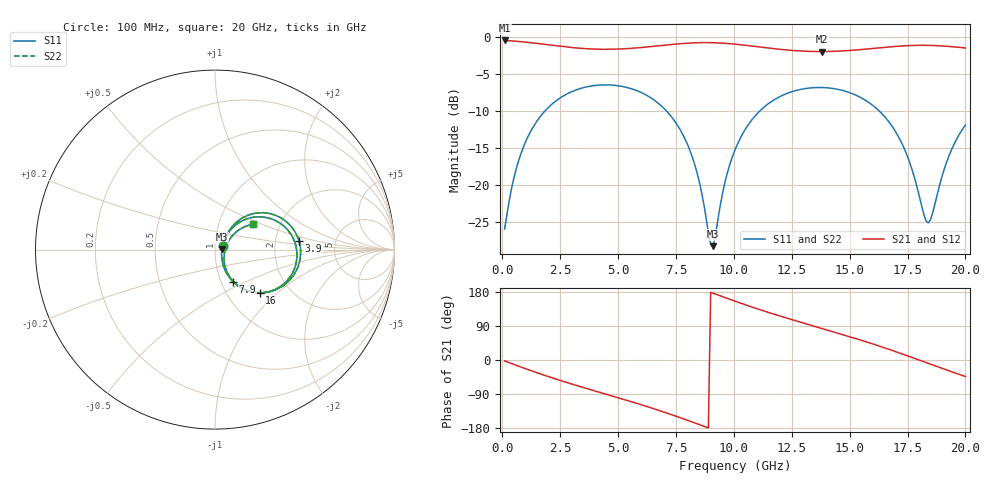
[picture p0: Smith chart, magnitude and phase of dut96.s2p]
! Touchstone file exported from HFSS 2026.1.0
!  File:  C:/ffzhzh/LocalFiles/Ansys_Project_Files/temp_train_TSV_RDL_96_1782973877_45568.aedt
!  Generated:  02:45:25 PM Jul  2, 2026
!  Design:  TSV_RDL
!  Project:  temp_train_TSV_RDL_96_1782973877_45568
! Variables:
!  h_bsmrdl = 2.77um
!  h_ox = 20um
!  h_rdl = 5um
!  h_sub = 57.13um
!  h_tmrdl = 5.07um
!  h_tsv = 57.13um
!  h_via = 3um
!  l_bsmrdl = 947.33um
!  l_sub = 7177.34um
!  l_tmrdl = 962.35um
!  m_sub = 200um
!  pitch = 29.25um
!  r_tsv = 4.33um
!  s_tmrdl = 10um
!  w_bsmrdl = 13.23um
!  w_sub = 500um
!  w_tmrdl = 15.42um
!  x_tsv_center1 = 970.06um
!  x_tsv_center2 = 1930.62um
!  x_tsv_center3 = 2908.39um
!  x_tsv_center4 = 3868.95um
!  x_tsv_center5 = 4846.72um
!  x_tsv_center6 = 5807.28um
# GHz S MA R 50.000000
! Terminal data exported
! Port[1] = TM_RDL1_1_T1
! Port[2] = TM_RDL5_1_T1
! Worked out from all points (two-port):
!   200 points, 100 MHz to 20 GHz, reference 50 ohm
!   highest |S21| = -0.41 dB at 100 MHz (marker M1); lowest = -1.9 dB at 13.8 GHz (marker M2)
!   |S21| within 3 dB of the highest: start of sweep to end of sweep
!   lowest |S11| = -28.3 dB at 9.1 GHz (marker M3), VSWR 1.08, Z = 54 + j0.233 ohm
!   |S11| at or under -10 dB: start of sweep to 1.829 GHz; 7.106 GHz to 11.11 GHz (4.001 GHz wide, 43.9 % of centre); 16.29 GHz to end of sweep
!   |S22| runs from -28.2 to -6.4 dB; largest |S21 - S12| = 1.6e-14
!   S11 on the Smith chart (normalised r, x): 100 MHz: 1.10, +0.04; 3.9 GHz: 2.73, +0.33; 7.9 GHz: 1.14, -0.42; 16 GHz: 1.42, -0.78; 20 GHz: 1.46, +0.44
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0.1  0.05051 22.9  0.9541 -2.4  0.9541 -2.4  0.05051 22.9
! Gamma 0 0 0 0
! Port Impedance 50 0 50 0
0.6  0.1288 52.9  0.9423 -14.0  0.9423 -14.0  0.1288 52.9
1.3  0.2427 48.3  0.9191 -29.4  0.9191 -29.4  0.2427 48.3
2.3  0.3703 32.5  0.8789 -50.0  0.8789 -50.0  0.3703 32.5
3.5  0.457 12.3  0.8417 -72.6  0.8417 -72.6  0.457 12.3
3.9  0.4706 5.7  0.8351 -79.9  0.8351 -79.9  0.4706 5.7
5.5  0.4533 -20.8  0.8424 -108.7  0.8424 -108.7  0.4533 -20.8
6.8  0.352 -43.1  0.8793 -133.7  0.8793 -133.7  0.352 -43.1
7.9  0.2041 -60.6  0.912 -156.9  0.912 -156.9  0.2041 -60.6
8.4  0.1233 -63.9  0.9205 -168.0  0.9205 -168.0  0.1233 -63.9
9.1  0.03868 3.2  0.9211 176.3  0.9211 176.3  0.03885 3.1
9.6  0.102 50.5  0.9131 165.1  0.9131 165.1  0.1021 50.4
10.1  0.181 49.8  0.8993 154.2  0.8993 154.2  0.181 49.8
11.4  0.3474 30.4  0.8511 127.4  0.8511 127.4  0.3474 30.3
13.4  0.4567 -2.3  0.8037 90.5  0.8037 90.5  0.4567 -2.3
13.8  0.4583 -8.7  0.8025 83.3  0.8025 83.3  0.4582 -8.7
16  0.347 -44.0  0.8421 42.4  0.8421 42.4  0.3469 -44.2
16.7  0.2678 -54.6  0.8622 28.1  0.8622 28.1  0.2676 -54.8
17.5  0.1564 -61.9  0.8797 11.0  0.8797 11.0  0.1561 -62.2
18.4  0.05557 -9.0  0.884 -8.9  0.884 -8.9  0.05444 -9.0
19.2  0.1449 39.4  0.8716 -26.5  0.8716 -26.5  0.1444 39.9
20  0.2553 33.4  0.8481 -43.6  0.8481 -43.6  0.255 33.7
